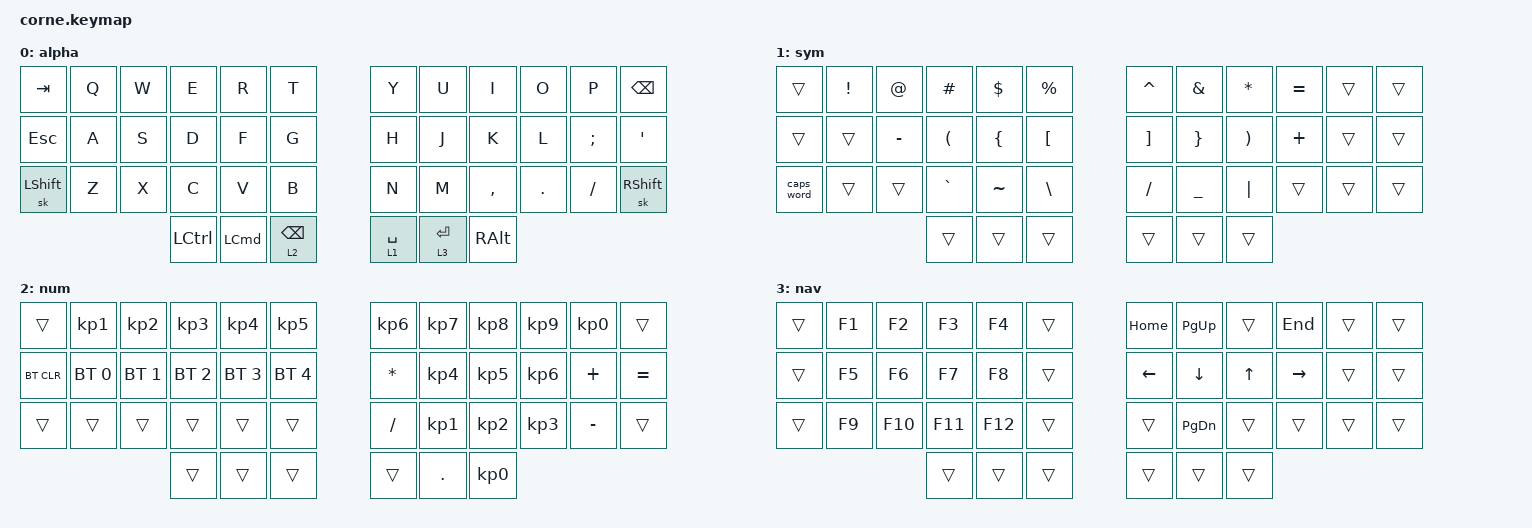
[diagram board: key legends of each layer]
/*
 * Copyright (c) 2020 The ZMK Contributors
 *
 * SPDX-License-Identifier: MIT
 */

#include <behaviors.dtsi>
#include <dt-bindings/zmk/bt.h>
#include <dt-bindings/zmk/keys.h>

&sk {
    quick-release;
};

&lt {
    flavor = "balanced";
};

/ {
    keymap {
        compatible = "zmk,keymap";

        alpha {
            bindings = <
   &kp TAB  &kp Q  &kp W      &kp E     &kp R        &kp T           &kp Y       &kp U      &kp I    &kp O      &kp P    &kp BSPC
   &kp ESC  &kp A  &kp S      &kp D     &kp F        &kp G           &kp H       &kp J      &kp K    &kp L   &kp SEMI     &kp SQT
&sk LSHIFT  &kp Z  &kp X      &kp C     &kp V        &kp B           &kp N       &kp M  &kp COMMA  &kp DOT  &kp SLASH  &sk RSHIFT
                              &kp LCTRL  &kp LCMD  &lt 2 BSPC    &lt 1 SPACE  &lt 3 RET   &kp RALT
            >;
        };

        sym {
            bindings = <
&trans      &kp EXCL   &kp AT   &kp HASH   &kp DLLR      &kp PRCNT    &kp CARET   &kp AMPS  &kp STAR  &kp EQUAL  &trans  &trans
&trans      &trans  &kp MINUS   &kp LPAR   &kp LBRC       &kp LBKT     &kp RBKT   &kp RBRC  &kp RPAR   &kp PLUS  &trans  &trans
&caps_word  &trans     &trans  &kp GRAVE  &kp TILDE  &kp BACKSLASH    &kp SLASH  &kp UNDER  &kp PIPE     &trans  &trans  &trans
                                &trans     &trans         &trans       &trans     &trans    &trans
            >;
        };

        num {
            bindings = <
    &trans     &kp KP_N1     &kp KP_N2     &kp KP_N3     &kp KP_N4     &kp KP_N5    &kp KP_N6  &kp KP_N7  &kp KP_N8  &kp KP_N9  &kp KP_N0     &trans
&bt BT_CLR  &bt BT_SEL 0  &bt BT_SEL 1  &bt BT_SEL 2  &bt BT_SEL 3  &bt BT_SEL 4     &kp STAR  &kp KP_N4  &kp KP_N5  &kp KP_N6   &kp PLUS  &kp EQUAL
    &trans        &trans        &trans        &trans        &trans        &trans    &kp SLASH  &kp KP_N1  &kp KP_N2  &kp KP_N3  &kp MINUS     &trans
                                              &trans        &trans        &trans       &trans    &kp DOT  &kp KP_N0
            >;
        };

        nav {
            bindings = <
&trans  &kp F1   &kp F2   &kp F3   &kp F4  &trans    &kp HOME  &kp PG_UP  &trans    &kp END  &trans  &trans
&trans  &kp F5   &kp F6   &kp F7   &kp F8  &trans    &kp LEFT   &kp DOWN  &kp UP  &kp RIGHT  &trans  &trans
&trans  &kp F9  &kp F10  &kp F11  &kp F12  &trans      &trans  &kp PG_DN  &trans     &trans  &trans  &trans
                          &trans   &trans  &trans      &trans     &trans  &trans
            >;
        };
    };
};
